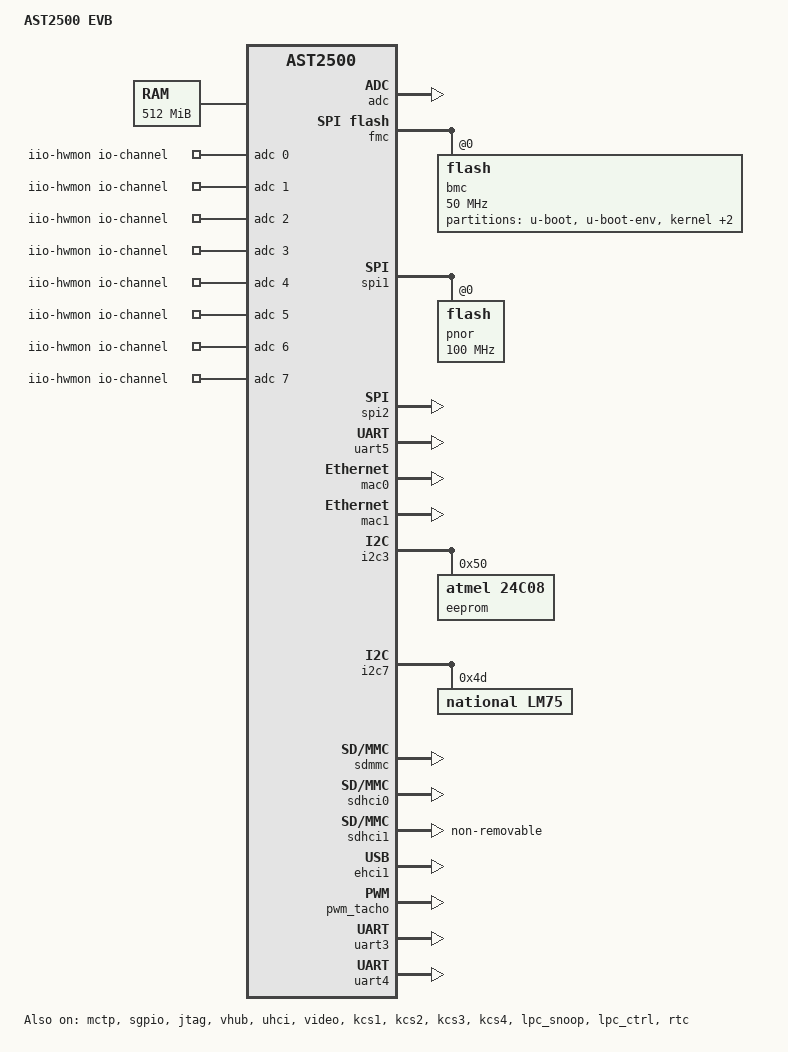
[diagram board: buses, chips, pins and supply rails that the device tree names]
// SPDX-License-Identifier: GPL-2.0+
/dts-v1/;

#include "aspeed-g5.dtsi"

/ {
	model = "AST2500 EVB";
	compatible = "aspeed,ast2500";

	aliases {
		serial4 = &uart5;
	};

	chosen {
		stdout-path = &uart5;
		bootargs = "console=tty0 console=ttyS4,115200 earlycon";
	};

	memory@80000000 {
		reg = <0x80000000 0x20000000>;
	};

	reserved-memory {
		#address-cells = <1>;
		#size-cells = <1>;
		ranges;

		gfx_memory: framebuffer {
			size = <0x01000000>;
			alignment = <0x01000000>;
			compatible = "shared-dma-pool";
			reusable;
		};

		video_engine_memory: video {
			size = <0x04000000>;
			alignment = <0x01000000>;
			compatible = "shared-dma-pool";
			reusable;
		};

		mctp_reserved: mctp_reserved@8a000000 {
			reg = <0x8a000000 0x10000>;
			compatible = "shared-dma-pool";
			no-map;
		};
	};

	iio-hwmon {
		compatible = "iio-hwmon";
		io-channels = <&adc 0>, <&adc 1>, <&adc 2>, <&adc 3>,
				<&adc 4>, <&adc 5>, <&adc 6>, <&adc 7>,
				<&adc 8>, <&adc 9>, <&adc 10>, <&adc 11>,
				<&adc 12>, <&adc 13>, <&adc 14>, <&adc 15>;
	};
};

&adc {
	status = "okay";

	pinctrl-names = "default";
	pinctrl-0 = <&pinctrl_adc0_default &pinctrl_adc1_default
		&pinctrl_adc2_default &pinctrl_adc3_default
		&pinctrl_adc4_default &pinctrl_adc5_default
		&pinctrl_adc6_default &pinctrl_adc7_default
		&pinctrl_adc8_default &pinctrl_adc9_default
		&pinctrl_adc10_default &pinctrl_adc11_default
		&pinctrl_adc12_default &pinctrl_adc13_default
		&pinctrl_adc14_default &pinctrl_adc15_default>;
};

&mctp {
	status = "okay";
	memory-region = <&mctp_reserved>;
};

&fmc {
	status = "okay";
	flash@0 {
		status = "okay";
		m25p,fast-read;
		label = "bmc";
		spi-max-frequency = <50000000>;
		partitions {
			compatible = "fixed-partitions";
			#address-cells = <1>;
			#size-cells = <1>;

			u-boot@0 {
				reg = <0x0 0xf0000>; // 960KB
				label = "u-boot";
			};

			u-boot-env@f0000 {
				reg = <0xf0000 0x10000>; // 64KB
				label = "u-boot-env";
			};

			kernel@100000 {
				reg = <0x100000 0x500000>; // 5MB
				label = "kernel";
			};

			rofs@600000 {
				reg = <0x600000 0x1740000>; // 23.25MB
				label = "rofs";
			};

			rwfs@1d40000 {
				reg = <0x1d40000 0x2c0000>; // 2.75MB
				label = "rwfs";
			};
		};
	};
};

&spi1 {
	status = "okay";
	flash@0 {
		status = "okay";
		m25p,fast-read;
		label = "pnor";
		spi-max-frequency = <100000000>;
	};
};

&spi2 {
	status = "okay";
};

&uart5 {
	status = "okay";
};

&mac0 {
	status = "okay";

	pinctrl-names = "default";
	pinctrl-0 = <&pinctrl_rgmii1_default &pinctrl_mdio1_default>;
};

&mac1 {
	status = "okay";

	pinctrl-names = "default";
	pinctrl-0 = <&pinctrl_rgmii2_default &pinctrl_mdio2_default>;
};

&i2c3 {
	status = "okay";

	eeprom@50 {
		compatible = "atmel,24c08";
		reg = <0x50>;
		pagesize = <16>;
	};
};

&sgpio {
	status = "okay";
	ngpios = <80>;
};

&i2c7 {
	status = "okay";

	lm75@4d {
		compatible = "national,lm75";
		reg = <0x4d>;
	};
};

&sdmmc {
	status = "okay";
};

&sdhci0 {
	status = "okay";

	pinctrl-names = "default";
	pinctrl-0 = <&pinctrl_sd1_default>;
};


&sdhci1 {
	status = "okay";

	non-removable;
	pinctrl-names = "default";
	pinctrl-0 = <&pinctrl_sd2_default>;
};

&jtag {
	status = "okay";
};


/*
 * Enable port A as device (via the virtual hub) and port B as
 * host by default on the eval board. This can be easily changed
 * by replacing the override below with &ehci0 { ... } to enable
 * host on both ports.
 */
&vhub {
	status = "okay";
};

&ehci1 {
	status = "okay";
};

&uhci {
	status = "okay";
};

#if 0
&gfx {
	pcie-reset-detect;
	status = "okay";
	memory-region = <&gfx_memory>;
};
#endif

&pwm_tacho {
	status = "okay";
	pinctrl-names = "default";
	pinctrl-0 = <&pinctrl_pwm0_default &pinctrl_pwm1_default
		&pinctrl_pwm2_default &pinctrl_pwm3_default
		&pinctrl_pwm4_default &pinctrl_pwm5_default
		&pinctrl_pwm6_default &pinctrl_pwm7_default>;
	aspeed,minrpm = <1000>;
	aspeed,pulse-pr = <2>;

	fan@0 {
		reg = <0x00>;
		aspeed,fan-tach-ch = /bits/ 8 <0x00>;
	};

	fan@1 {
		reg = <0x01>;
		aspeed,fan-tach-ch = /bits/ 8 <0x01>;
	};

	fan@2 {
		reg = <0x02>;
		aspeed,fan-tach-ch = /bits/ 8 <0x02>;
	};

	fan@3 {
		reg = <0x03>;
		aspeed,fan-tach-ch = /bits/ 8 <0x03>;
	};

	fan@4 {
		reg = <0x04>;
		aspeed,fan-tach-ch = /bits/ 8 <0x04>;
	};

	fan@5 {
		reg = <0x05>;
		aspeed,fan-tach-ch = /bits/ 8 <0x05>;
	};

	fan@6 {
		reg = <0x06>;
		aspeed,fan-tach-ch = /bits/ 8 <0x06>;
	};

	fan@7 {
		reg = <0x07>;
		aspeed,fan-tach-ch = /bits/ 8 <0x07>;
	};

};

&video {
	status = "okay";
	memory-region = <&video_engine_memory>;
};

&uart3 {
	status = "okay";
};

&uart4 {
	status = "okay";
};

&kcs1 {
	kcs_addr = <0xca0>;
	status = "okay";
};

&kcs2 {
	kcs_addr = <0xca8>;
	status = "okay";
};

&kcs3 {
	kcs_addr = <0xca2>;
	status = "okay";
};

&kcs4 {
	kcs_addr = <0xca4>;
	status = "okay";
};

&lpc_snoop {
	status = "okay";
	snoop-ports = <0x80>;
};

&lpc_ctrl {
	status = "okay";
};

&rtc {
	status = "okay";
};
